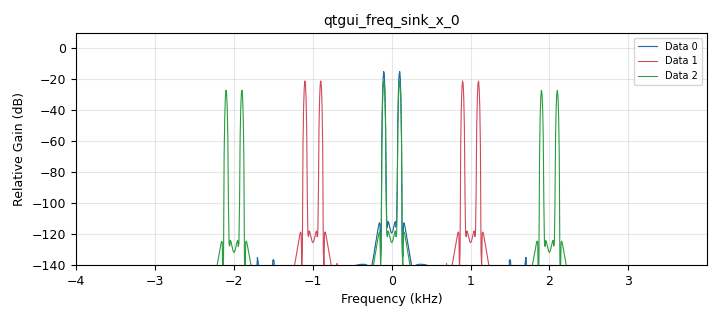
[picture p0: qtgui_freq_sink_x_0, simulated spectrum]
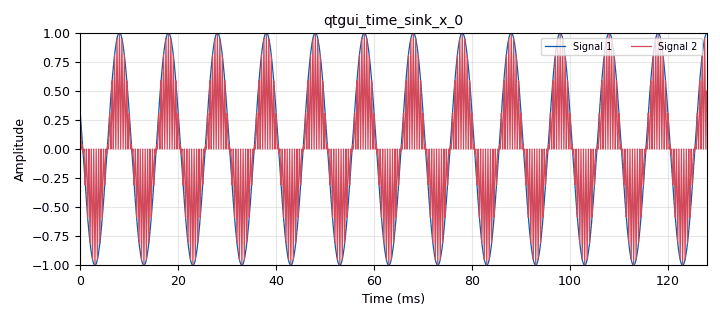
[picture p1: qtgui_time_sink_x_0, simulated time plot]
options:
  parameters:
    generate_options: qt_gui
    id: WarmingUp_2Frequencies
    output_language: python
    title: Mixing Real Mixing
  states: {}

blocks:
- name: freq
  id: variable_qtgui_range
  parameters:
    outputmsgname: value
    showports: 'False'
    start: '0'
    step: '1'
    stop: samp_rate
    value: '100'
  states: {}
- name: freq2
  id: variable_qtgui_range
  parameters:
    outputmsgname: value
    showports: 'False'
    start: '0'
    step: '1'
    stop: samp_rate
    value: '1000'
  states: {}
- name: samp_rate
  id: variable
  parameters:
    value: '8000'
  states: {}
- name: analog_sig_source_x_0
  id: analog_sig_source_x
  parameters:
    amp: '1'
    freq: freq
    offset: '0'
    phase: '0'
    samp_rate: samp_rate
    type: float
    waveform: analog.GR_COS_WAVE
  states: {}
- name: analog_sig_source_x_0_0
  id: analog_sig_source_x
  parameters:
    amp: '1'
    freq: freq2
    offset: '0'
    phase: '0'
    samp_rate: samp_rate
    type: float
    waveform: analog.GR_COS_WAVE
  states: {}
- name: analog_sig_source_x_0_0_0
  id: analog_sig_source_x
  parameters:
    amp: '1'
    freq: freq2
    offset: '0'
    phase: '0'
    samp_rate: samp_rate
    type: float
    waveform: analog.GR_COS_WAVE
  states: {}
- name: blocks_multiply_xx_0
  id: blocks_multiply_xx
  parameters:
    type: float
  states: {}
- name: blocks_multiply_xx_0_0
  id: blocks_multiply_xx
  parameters:
    type: float
  states: {}
- name: blocks_throttle_0
  id: blocks_throttle
  parameters:
    samples_per_second: samp_rate
    type: float
  states: {}
- name: qtgui_freq_sink_x_0
  id: qtgui_freq_sink_x
  parameters:
    bw: samp_rate
    fc: '0'
    fftsize: '1024'
    nconnections: '3'
    type: float
  states: {}
- name: qtgui_time_sink_x_0
  id: qtgui_time_sink_x
  parameters:
    nconnections: '2'
    size: '1024'
    srate: samp_rate
    type: float
  states: {}

connections:
- [analog_sig_source_x_0, '0', blocks_throttle_0, '0']
- [analog_sig_source_x_0, '0', qtgui_time_sink_x_0, '0']
- [analog_sig_source_x_0_0, '0', blocks_multiply_xx_0, '1']
- [analog_sig_source_x_0_0_0, '0', blocks_multiply_xx_0_0, '1']
- [blocks_multiply_xx_0, '0', blocks_multiply_xx_0_0, '0']
- [blocks_multiply_xx_0, '0', qtgui_freq_sink_x_0, '1']
- [blocks_multiply_xx_0_0, '0', qtgui_freq_sink_x_0, '2']
- [blocks_multiply_xx_0_0, '0', qtgui_time_sink_x_0, '1']
- [blocks_throttle_0, '0', blocks_multiply_xx_0, '0']
- [blocks_throttle_0, '0', qtgui_freq_sink_x_0, '0']

metadata:
  file_format: 1
  grc_version: 3.10.4.0
